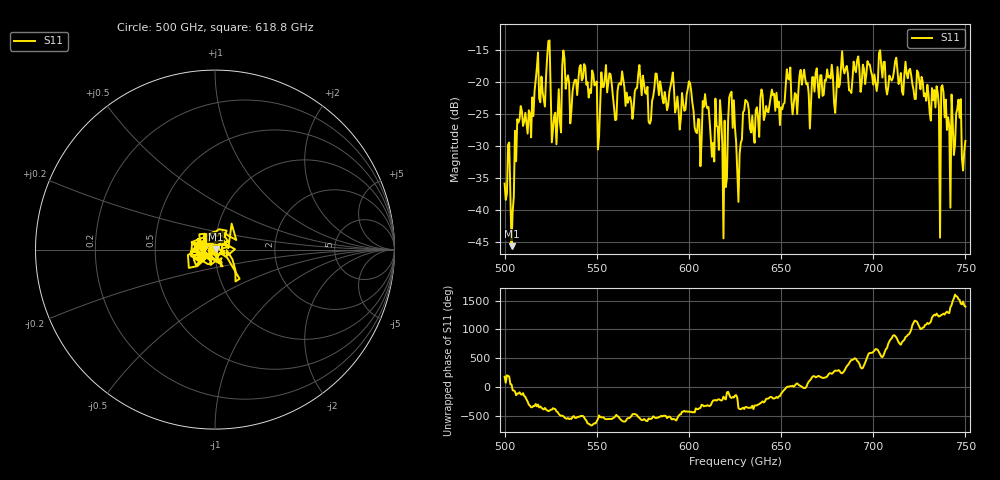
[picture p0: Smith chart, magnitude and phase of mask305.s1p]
!Created with skrf (http://scikit-rf.org).
# GHz S MA R 50.0
!freq magS11 angS11
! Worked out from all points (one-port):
!   401 points, 500 GHz to 750 GHz, reference 50 ohm
!   lowest |S11| = -45.6 dB at 503.8 GHz (marker M1), VSWR 1.01, Z = 50.4 + j0.372 ohm
!   |S11| at or under -10 dB: start of sweep to end of sweep
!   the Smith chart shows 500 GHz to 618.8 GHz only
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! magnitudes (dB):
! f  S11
! 500 GHz  -35.8
! 503.8 GHz  -45.6
! 508.1 GHz  -25.7
! 523.8 GHz  -13.5
! 526.9 GHz  -25.3
! 531.2 GHz  -17.4
! 550.6 GHz  -30.5
! 562.5 GHz  -20.1
! 593.8 GHz  -22.2
! 600 GHz  -19.8
! 605.6 GHz  -25.8
! 609.4 GHz  -23.5
! 612.5 GHz  -31.6
! 616.9 GHz  -22.8
! 619.4 GHz  -26.0
! 622.5 GHz  -21.7
! 625 GHz  -27.1
! 627.5 GHz  -31.2
! 630.6 GHz  -22.7
! 656.2 GHz  -25.0
! 687.5 GHz  -21.3
! 718.8 GHz  -19.4
! 734.4 GHz  -20.6
! 735 GHz  -21.6
! 738.1 GHz  -21.5
! 743.1 GHz  -26.4
! 746.2 GHz  -22.7
! 750 GHz  -29.1
